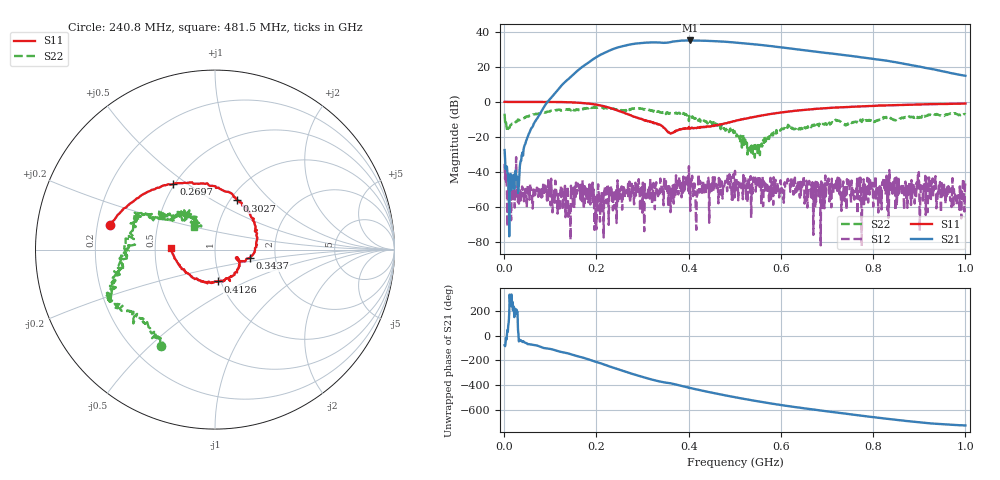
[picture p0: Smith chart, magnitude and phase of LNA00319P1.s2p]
! Created with skrf 1.9.0 (http://scikit-rf.org).
# Hz S RI R 50.0
!freq ReS11 ImS11 ReS21 ImS21 ReS12 ImS12 ReS22 ImS22
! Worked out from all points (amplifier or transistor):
!   1001 points, 1 MHz to 1 GHz, reference 50 ohm
!   highest |S21| = 35.0 dB at 403.6 MHz (marker M1)
!   |S21| within 3 dB of that: 260.7 MHz to 571.3 MHz (310.6 MHz wide, 74.7 % of centre)
!   unconditionally stable (mu >= 1): 291.9 MHz to 400.4 MHz; 400.8 MHz to 835.1 MHz; 835.3 MHz to end of sweep (the widest 3 of 25)
!   at 166.8 MHz: K = 0.64, MSG = 33.8 dB, |S12| = -48.2 dB
!   at 500.5 MHz: K = 1.13, MAG = 34.4 dB, |S12| = -39.4 dB
!   at 1 GHz: K = 3.00, MAG = 22.7 dB, |S12| = -45.9 dB
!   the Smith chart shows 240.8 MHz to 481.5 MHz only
!   S11 on the Smith chart (normalised r, x): 240.8 MHz: 0.25, +0.11; 269.7 MHz: 0.49, +0.44; 302.7 MHz: 1.08, +0.65; 343.7 MHz: 1.47, -0.15; 412.6 MHz: 0.97, -0.36; 481.5 MHz: 0.61, +0.01
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1000000  0.9989 0.0133  0.00852 -0.0414  -0.0111 -0.0129  0.3223 0.3267
1.08892e8  0.5058 -0.8551  -0.7641 -1.488  0.00242 -0.00168  0.431 -0.3566
1.67833e8  -0.255 -0.8944  -9.584 -0.6908  -0.000292 -0.00188  0.0445 -0.6348
2.09791e8  -0.6896 -0.3718  -15.5 15.93  -0.000688 0.000918  -0.1859 -0.6558
2.4076e8  -0.5827 0.1377  -2.603 33.51  -0.00119 -0.00115  -0.3036 -0.5392
2.69731e8  -0.2313 0.365  21.96 35.85  0.00046 -0.00166  -0.4904 -0.3439
3.02698e8  0.1242 0.2739  44.43 17.65  -0.000487 -0.00246  -0.5753 -0.2242
3.34666e8  0.2304 0.0152  48.45 -8.826  -0.00264 0.00113  -0.5154 -0.0345
3.43657e8  0.1927 -0.0475  46.18 -14.43  -0.00203 0.00339  -0.4803 -0.00749
3.72628e8  0.1391 -0.0627  43.15 -32.38  -0.00334 0.00732  -0.47 0.1454
4.03597e8  0.062 -0.1599  23.3 -51.19  0.000614 -0.000467  -0.3411 0.1861
4.12588e8  0.0158 -0.1776  16.42 -53.49  0.00399 0.00249  -0.2792 0.1745
4.45555e8  -0.1394 -0.1422  -9.045 -53.73  0.00238 0.00311  -0.1702 0.1853
4.81519e8  -0.2449 0.0069  -30.83 -41.14  -0.000194 -0.00382  -0.1168 0.1236
5.005e8  -0.2572 0.1166  -37.95 -31.44  0.00769 -0.00753  -0.0997 0.0918
5.4046e8  -0.1921 0.3128  -42.79 -9.706  0.00431 -0.00545  -0.0244 0.0328
5.88412e8  0.00617 0.471  -35.8 10.97  0.00189 -0.00567  -0.1063 -0.0911
6.67333e8  0.3812 0.4849  -14.11 23.73  0.000966 -0.00161  -0.204 -0.0593
7.55245e8  0.6703 0.2745  3.751 19.74  -0.00119 0.00157  -0.2507 1.69e-05
8.34166e8  0.7911 0.0131  10.57 9.924  -0.000154 0.00107  -0.3428 -0.0158
9.14086e8  0.8094 -0.2651  9.074 1.705  0.000194 0.000559  -0.3684 0.1318
1e9  0.7183 -0.5307  5.455 -0.8879  -0.0044 -0.00254  -0.3273 0.2858
